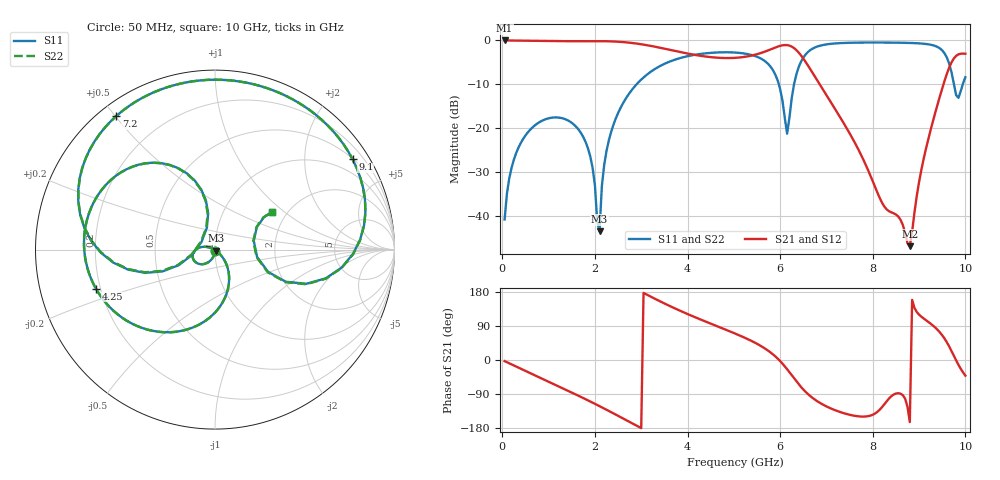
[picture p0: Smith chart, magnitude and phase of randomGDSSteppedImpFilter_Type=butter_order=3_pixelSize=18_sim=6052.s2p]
! freq	dB(S11)	phase(S11)	dB(S12)	phase(S12)
!  dB(S21)	phase(S21)	dB(S22)	phase(S22)
!S-par simulation data
#  GHz  S  DB  R 50
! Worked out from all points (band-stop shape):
!   200 points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, 50 MHz to 10 GHz, reference 50 ohm
!   highest |S21| = 0.00 dB at 50 MHz (marker M1); lowest = -46.9 dB at 8.8 GHz (marker M2)
!   |S21| within 3 dB of the highest: start of sweep to 4.008 GHz; 5.544 GHz to 6.419 GHz (875.1 MHz wide, 14.6 % of centre) (the widest 2 of 3)
!   lowest |S11| = -43.5 dB at 2.1 GHz (marker M3), VSWR 1.01, Z = 50.4 - j0.543 ohm
!   |S11| at or under -10 dB: start of sweep to 2.901 GHz; 5.97 GHz to 6.3 GHz (329.6 MHz wide, 5.37 % of centre); 9.753 GHz to 9.944 GHz (190.9 MHz wide, 1.94 % of centre)
!   |S22| runs from -43.5 to -0.5 dB; largest |S21 - S12| = 0
!   S11 on the Smith chart (normalised r, x): 50 MHz: 1.00, -0.02; 4.25 GHz: 0.18, -0.15; 7.2 GHz: 0.05, +0.50; 9.1 GHz: 0.52, +3.27; 10 GHz: 1.68, +0.82
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0.05  -40.86 -90.8  -0.00 -2.9  -0.00 -2.9  -40.86 -90.8
0.25  -27.20 -104.3  -0.03 -14.5  -0.03 -14.5  -27.20 -104.3
0.6  -20.40 -124.8  -0.09 -34.5  -0.09 -34.5  -20.40 -124.8
1.75  -22.06 169.9  -0.15 -100.5  -0.15 -100.5  -22.07 169.8
1.95  -29.06 159.9  -0.14 -112.6  -0.14 -112.6  -29.08 159.6
2.1  -43.52 -53.8  -0.15 -121.8  -0.15 -121.8  -43.51 -51.6
2.2  -28.44 -42.6  -0.17 -128.0  -0.17 -128.0  -28.42 -42.2
2.4  -19.24 -53.1  -0.24 -140.8  -0.24 -140.8  -19.23 -52.9
3.4  -5.87 -115.7  -1.65 155.2  -1.65 155.2  -5.87 -115.7
4.25  -3.12 -161.8  -3.46 108.4  -3.46 108.4  -3.12 -161.8
5.05  -2.78 159.4  -3.96 68.7  -3.96 68.7  -2.78 159.5
5.85  -6.87 110.3  -1.80 14.3  -1.80 14.3  -6.86 110.6
6.15  -21.28 150.1  -1.07 -24.2  -1.07 -24.2  -20.95 150.0
6.35  -7.74 -161.6  -2.20 -56.2  -2.20 -56.2  -7.73 -162.1
6.7  -1.88 160.9  -7.38 -100.1  -7.38 -100.1  -1.88 160.7
7.2  -0.67 126.4  -15.89 -133.1  -15.89 -133.1  -0.67 126.3
8.35  -0.49 72.4  -38.96 -101.6  -38.96 -101.6  -0.49 72.3
8.8  -0.57 50.6  -46.95 -163.9  -46.95 -163.9  -0.57 50.5
9.1  -0.75 33.3  -26.96 109.4  -26.96 109.4  -0.75 33.1
9.65  -5.29 -20.5  -6.20 35.8  -6.20 35.8  -5.31 -20.8
9.85  -13.09 12.7  -3.17 -12.6  -3.17 -12.6  -13.19 12.9
10  -8.39 33.3  -3.04 -41.3  -3.04 -41.3  -8.41 33.5
